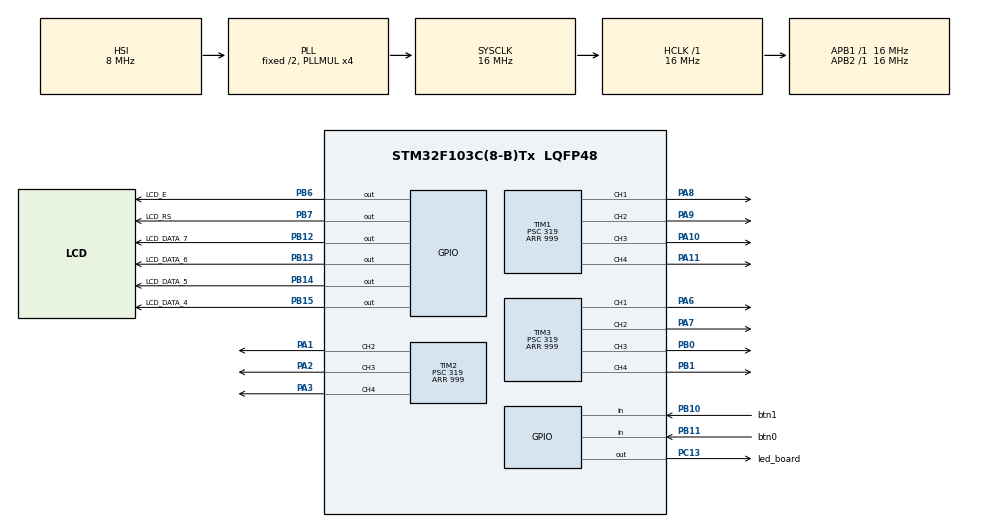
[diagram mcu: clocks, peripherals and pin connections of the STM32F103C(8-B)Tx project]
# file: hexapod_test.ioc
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Mcu.Family=STM32F1
Mcu.Name=STM32F103C(8-B)Tx
Mcu.Package=LQFP48
NVIC.PriorityGroup=NVIC_PRIORITYGROUP_4
NVIC.TIM4_IRQn=true\:0\:0\:false\:false\:true\:true\:true
PA1.Signal=S_TIM2_CH2
PA10.Signal=S_TIM1_CH3
PA11.Signal=S_TIM1_CH4
PA13.Mode=Serial_Wire
PA13.Signal=SYS_JTMS-SWDIO
PA14.Mode=Serial_Wire
PA14.Signal=SYS_JTCK-SWCLK
PA2.Signal=S_TIM2_CH3
PA3.Signal=S_TIM2_CH4
PA6.Signal=S_TIM3_CH1
PA7.Signal=S_TIM3_CH2
PA8.Signal=S_TIM1_CH1
PA9.Signal=S_TIM1_CH2
PB0.Signal=S_TIM3_CH3
PB1.Signal=S_TIM3_CH4
PB10.GPIO_Label=btn1
PB10.Signal=GPIO_Input
PB11.GPIO_Label=btn0
PB11.Signal=GPIO_Input
PB12.GPIO_Label=LCD_DATA_7
PB12.Signal=GPIO_Output
PB13.GPIO_Label=LCD_DATA_6
PB13.Signal=GPIO_Output
PB14.GPIO_Label=LCD_DATA_5
PB14.Signal=GPIO_Output
PB15.GPIO_Label=LCD_DATA_4
PB15.Signal=GPIO_Output
PB6.GPIO_Label=LCD_E
PB6.Signal=GPIO_Output
PB7.GPIO_Label=LCD_RS
PB7.Signal=GPIO_Output
PC13-TAMPER-RTC.GPIO_Label=led_board
PC13-TAMPER-RTC.Signal=GPIO_Output
PD0-OSC_IN.Mode=HSE-External-Oscillator
PD0-OSC_IN.Signal=RCC_OSC_IN
PD1-OSC_OUT.Mode=HSE-External-Oscillator
PD1-OSC_OUT.Signal=RCC_OSC_OUT
ProjectManager.HeapSize=0x200
ProjectManager.StackSize=0x400
ProjectManager.TargetToolchain=STM32CubeIDE
RCC.AHBFreq_Value=16000000
RCC.APB1Freq_Value=16000000
RCC.APB1TimFreq_Value=16000000
RCC.APB2Freq_Value=16000000
RCC.APB2TimFreq_Value=16000000
RCC.HCLKFreq_Value=16000000
RCC.PLLMUL=RCC_PLL_MUL4
RCC.SYSCLKFreq_VALUE=16000000
RCC.SYSCLKSource=RCC_SYSCLKSOURCE_PLLCLK
RCC.USBFreq_Value=16000000
SH.S_TIM1_CH1.0=TIM1_CH1,PWM Generation1 CH1
SH.S_TIM1_CH2.0=TIM1_CH2,PWM Generation2 CH2
SH.S_TIM1_CH3.0=TIM1_CH3,PWM Generation3 CH3
SH.S_TIM1_CH4.0=TIM1_CH4,PWM Generation4 CH4
SH.S_TIM2_CH2.0=TIM2_CH2,PWM Generation2 CH2
SH.S_TIM2_CH3.0=TIM2_CH3,PWM Generation3 CH3
SH.S_TIM2_CH4.0=TIM2_CH4,PWM Generation4 CH4
SH.S_TIM3_CH1.0=TIM3_CH1,PWM Generation1 CH1
SH.S_TIM3_CH2.0=TIM3_CH2,PWM Generation2 CH2
SH.S_TIM3_CH3.0=TIM3_CH3,PWM Generation3 CH3
SH.S_TIM3_CH4.0=TIM3_CH4,PWM Generation4 CH4
TIM1.Channel-PWM\ Generation1\ CH1=TIM_CHANNEL_1
TIM1.Channel-PWM\ Generation2\ CH2=TIM_CHANNEL_2
TIM1.Channel-PWM\ Generation3\ CH3=TIM_CHANNEL_3
TIM1.Channel-PWM\ Generation4\ CH4=TIM_CHANNEL_4
TIM1.Period=999
TIM1.Prescaler=319
TIM2.Channel-PWM\ Generation1\ CH1=TIM_CHANNEL_1
TIM2.Channel-PWM\ Generation2\ CH2=TIM_CHANNEL_2
TIM2.Channel-PWM\ Generation3\ CH3=TIM_CHANNEL_3
TIM2.Channel-PWM\ Generation4\ CH4=TIM_CHANNEL_4
TIM2.Period=999
TIM2.Prescaler=319
TIM3.Channel-PWM\ Generation1\ CH1=TIM_CHANNEL_1
TIM3.Channel-PWM\ Generation2\ CH2=TIM_CHANNEL_2
TIM3.Channel-PWM\ Generation3\ CH3=TIM_CHANNEL_3
TIM3.Channel-PWM\ Generation4\ CH4=TIM_CHANNEL_4
TIM3.Period=999
TIM3.Prescaler=319
TIM4.Period=399
TIM4.Prescaler=39999
VP_TIM2_VS_ClockSourceINT.Mode=Internal
VP_TIM3_VS_ClockSourceINT.Mode=Internal
VP_TIM4_VS_ClockSourceINT.Mode=Internal
board=custom

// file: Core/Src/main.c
/* USER CODE BEGIN Header */
/**
  ******************************************************************************
  * @file           : main.c
  * @brief          : Main program body
  ******************************************************************************
  * @attention
  *
  * <h2><center>&copy; Copyright (c) 2021 STMicroelectronics.
  * All rights reserved.</center></h2>
  *
  * This software component is licensed by ST under BSD 3-Clause license,
  * the "License"; You may not use this file except in compliance with the
  * License. You may obtain a copy of the License at:
  *                        opensource.org/licenses/BSD-3-Clause
  *
  ******************************************************************************
  */
/* USER CODE END Header */
#include "main.h"
#include "tim.h"
#include "gpio.h"

/* USER CODE BEGIN Includes */
#include "lcd.h"
#include "functions.h"
/* USER CODE END Includes */

void SystemClock_Config(void);

int main(void)
{
  /* USER CODE BEGIN 1 */
	uch buffer[] = "";
  /* USER CODE END 1 */

  /* MCU Configuration--------------------------------------------------------*/

  /* Reset of all peripherals, Initializes the Flash interface and the Systick. */
  HAL_Init();

  /* Configure the system clock */
  SystemClock_Config();

  /* Initialize all configured peripherals */
  MX_GPIO_Init();
  MX_TIM2_Init();
  MX_TIM3_Init();
  MX_TIM4_Init();
  MX_TIM1_Init();
  /* USER CODE BEGIN 2 */
  HAL_TIM_Base_Start_IT(&htim4);
  //HAL_TIM_PWM_Start(&htim1, TIM_CHANNEL_1);
  HAL_TIM_PWM_Start(&htim1, TIM_CHANNEL_2);
  //HAL_TIM_PWM_Start(&htim1, TIM_CHANNEL_3);
  //HAL_TIM_PWM_Start(&htim1, TIM_CHANNEL_4);

  HAL_TIM_PWM_Start(&htim2, TIM_CHANNEL_2);
  HAL_TIM_PWM_Start(&htim2, TIM_CHANNEL_3);
  HAL_TIM_PWM_Start(&htim2, TIM_CHANNEL_4);

  HAL_TIM_PWM_Start(&htim3, TIM_CHANNEL_1);
  HAL_TIM_PWM_Start(&htim3, TIM_CHANNEL_2);
  HAL_TIM_PWM_Start(&htim3, TIM_CHANNEL_3);
  HAL_TIM_PWM_Start(&htim3, TIM_CHANNEL_4);
  /* USER CODE END 2 */

  /* Infinite loop */
  /* USER CODE BEGIN WHILE */

  LCD_init(1,1);
  LCD_test();
/*
  htim3.Instance -> CCR2 = 25;
  HAL_Delay(1000);
  htim3.Instance -> CCR2 = 75;
  HAL_Delay(1000);
  htim3.Instance -> CCR2 = 125;
*/
  htim3.Instance -> CCR3 = 25;

  while (1)
  {
	LCD_goto(0,0);
	LCD_string("Pozi: ");
    /* USER CODE END WHILE */

    /* USER CODE BEGIN 3 */
	  HAL_GPIO_TogglePin(led_board_GPIO_Port, led_board_Pin);
	  for(u8 i = 25; i <= 125; i+= 25){
		  LCD_goto(1,1);
		  strtoINT(i, sizeof(i));
		  LCD_string("   ");
		  //htim1.Instance -> CCR1 = i;
		  htim1.Instance -> CCR2 = i;
		  htim2.Instance -> CCR2 = i;
		  htim2.Instance -> CCR3 = i;
		  htim2.Instance -> CCR4 = i;
		  htim3.Instance -> CCR1 = i;
		  htim3.Instance -> CCR2 = i;
		  //htim3.Instance -> CCR3 = i;
		  htim3.Instance -> CCR4 = i;
		  HAL_Delay(2000);
	  }
	  //HAL_Delay(3000);
  }
  /* USER CODE END 3 */
}

void SystemClock_Config(void)
{
  RCC_OscInitTypeDef RCC_OscInitStruct = {0};
  RCC_ClkInitTypeDef RCC_ClkInitStruct = {0};

  /** Initializes the RCC Oscillators according to the specified parameters
  * in the RCC_OscInitTypeDef structure.
  */
  RCC_OscInitStruct.OscillatorType = RCC_OSCILLATORTYPE_HSI;
  RCC_OscInitStruct.HSIState = RCC_HSI_ON;
  RCC_OscInitStruct.HSICalibrationValue = RCC_HSICALIBRATION_DEFAULT;
  RCC_OscInitStruct.PLL.PLLState = RCC_PLL_ON;
  RCC_OscInitStruct.PLL.PLLSource = RCC_PLLSOURCE_HSI_DIV2;
  RCC_OscInitStruct.PLL.PLLMUL = RCC_PLL_MUL4;
  if (HAL_RCC_OscConfig(&RCC_OscInitStruct) != HAL_OK)
  {
    Error_Handler();
  }
  /** Initializes the CPU, AHB and APB buses clocks
  */
  RCC_ClkInitStruct.ClockType = RCC_CLOCKTYPE_HCLK|RCC_CLOCKTYPE_SYSCLK
                              |RCC_CLOCKTYPE_PCLK1|RCC_CLOCKTYPE_PCLK2;
  RCC_ClkInitStruct.SYSCLKSource = RCC_SYSCLKSOURCE_PLLCLK;
  RCC_ClkInitStruct.AHBCLKDivider = RCC_SYSCLK_DIV1;
  RCC_ClkInitStruct.APB1CLKDivider = RCC_HCLK_DIV1;
  RCC_ClkInitStruct.APB2CLKDivider = RCC_HCLK_DIV1;

  if (HAL_RCC_ClockConfig(&RCC_ClkInitStruct, FLASH_LATENCY_0) != HAL_OK)
  {
    Error_Handler();
  }
}

/* USER CODE BEGIN 4 */
void HAL_TIM_PeriodElapsedCallback(TIM_HandleTypeDef *htim){
	if(htim -> Instance == TIM4){
		if(HAL_GPIO_ReadPin(btn0_GPIO_Port, btn0_Pin) == 1 && htim3.Instance -> CCR3 < 125){
			htim3.Instance -> CCR3 += 5;
		}else if(HAL_GPIO_ReadPin(btn1_GPIO_Port, btn1_Pin) == 1 && htim3.Instance -> CCR3 > 25){
			htim3.Instance -> CCR3 -= 5;
		}/*else{
			htim3.Instance -> CCR3 = 25;
		}*/
	}
}
/* USER CODE END 4 */

void Error_Handler(void)
{
  __disable_irq();
  while (1)
  {
  }
}

/************************ (C) COPYRIGHT STMicroelectronics *****END OF FILE****/
